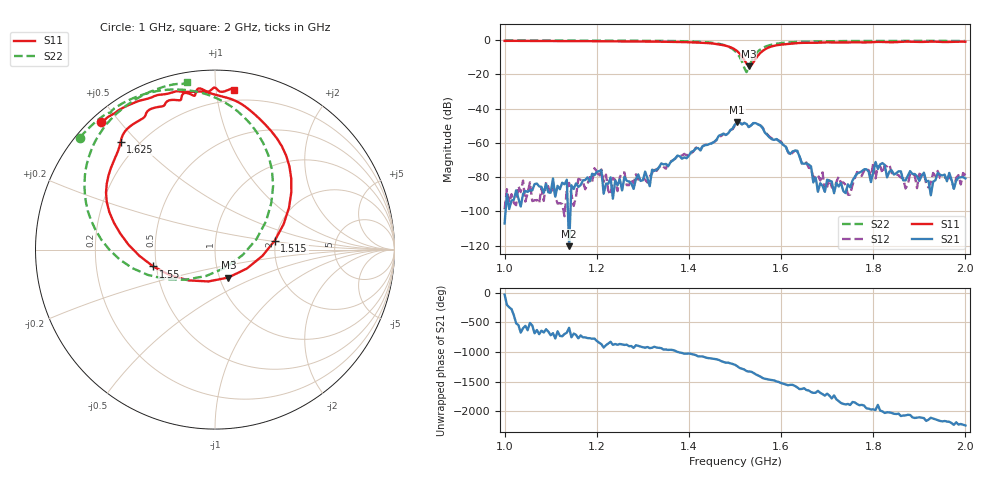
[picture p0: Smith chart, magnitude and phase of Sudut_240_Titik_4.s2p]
# Hz S RI R 50
! CMT, C1220, 16058040, 17.2.0/1
! Date: 14/08/2018 12:32:20
! Data: Format (Calibration Info)
! Freq  S11: Re/Im (F2)  S21: Re/Im (F2)  S12: Re/Im (F2)  S22: Re/Im (F2)
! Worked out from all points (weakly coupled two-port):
!   201 points, 1 GHz to 2 GHz, reference 50 ohm
!   highest |S21| = -47.73 dB at 1.505 GHz (marker M1); lowest = -120.3 dB at 1.14 GHz (marker M2)
!   lowest |S11| = -15.3 dB at 1.53 GHz (marker M3), VSWR 1.42, Z = 55.1 - j17.7 ohm
!   |S11| at or under -10 dB: 1.516 GHz to 1.547 GHz (30.77 MHz wide, 2.01 % of centre)
!   |S22| runs from -18.7 to -0.2 dB; largest |S21 - S12| = 0.00025
!   S11 on the Smith chart (normalised r, x): 1 GHz: 0.03, +0.45; 1.515 GHz: 1.98, +0.22; 1.55 GHz: 0.48, -0.10; 1.625 GHz: 0.14, +0.44; 2 GHz: 0.12, +1.12
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1e9  -0.6331 0.7083  3.91e-06 -2.17e-06  -2.18e-06 -1.13e-05  -0.7532 0.6238
1.14e9  -0.4842 0.8041  -6.18e-07 7.47e-07  5.25e-05 -4.34e-05  -0.6464 0.7273
1.17e9  -0.4558 0.8156  6.93e-05 -4.16e-05  7.03e-05 -1.88e-05  -0.6173 0.749
1.195e9  -0.4182 0.8306  7.18e-05 -8.95e-05  9.11e-05 -0.000159  -0.5884 0.7622
1.315e9  -0.219 0.8811  -4.54e-05 3.05e-05  -0.000104 1.44e-07  -0.4396 0.8504
1.335e9  -0.1914 0.8806  -0.000172 9.12e-05  -0.000172 7.95e-05  -0.402 0.8634
1.45e9  0.1974 0.774  0.000851 -0.000483  0.000829 -0.000554  0.0194 0.8385
1.5e9  0.4251 0.3196  -0.00245 -0.00246  -0.00231 -0.00228  0.3239 0.3554
1.505e9  0.4123 0.2334  -0.00385 -0.00144  -0.00371 -0.0015  0.3136 0.2594
1.515e9  0.333 0.05  -0.00327 0.00122  -0.00327 0.00113  0.2309 0.0582
1.53e9  0.0745 -0.1555  -0.00107 0.00271  -0.00109 0.00269  -0.0494 -0.1469
1.55e9  -0.3439 -0.094  0.00241 0.00248  0.00231 0.0026  -0.4607 -0.1033
1.625e9  -0.5262 0.5976  -0.000225 -0.000522  -0.000195 -0.000484  -0.7012 0.5213
1.67e9  -0.4029 0.7307  -2.63e-05 6.5e-05  -4.94e-05 8.32e-05  -0.6252 0.6712
1.785e9  -0.1901 0.8344  -0.000145 -9.1e-05  -0.000134 -0.000132  -0.4474 0.8337
1.795e9  -0.1863 0.8493  -7.08e-05 -1.28e-05  -9.72e-05 -3.06e-05  -0.4331 0.8421
1.8e9  -0.1839 0.8588  -0.000134 -3.21e-05  -0.000257 2.55e-05  -0.4262 0.8463
1.805e9  -0.1794 0.8665  -0.000277 -1.26e-05  -5.3e-05 -7.52e-05  -0.4194 0.8506
1.81e9  -0.1724 0.8716  -3.18e-06 -0.000173  -0.000207 -3.6e-05  -0.4126 0.8545
1.835e9  -0.1203 0.8581  -0.000114 9.04e-05  -0.000167 0.000167  -0.3788 0.8714
1.86e9  -0.1028 0.8864  2.58e-05 0.000146  9.76e-06 9.59e-05  -0.3448 0.8859
2e9  0.1065 0.8917  1.8e-05 -9.02e-05  -8e-06 -0.000114  -0.1556 0.9316
